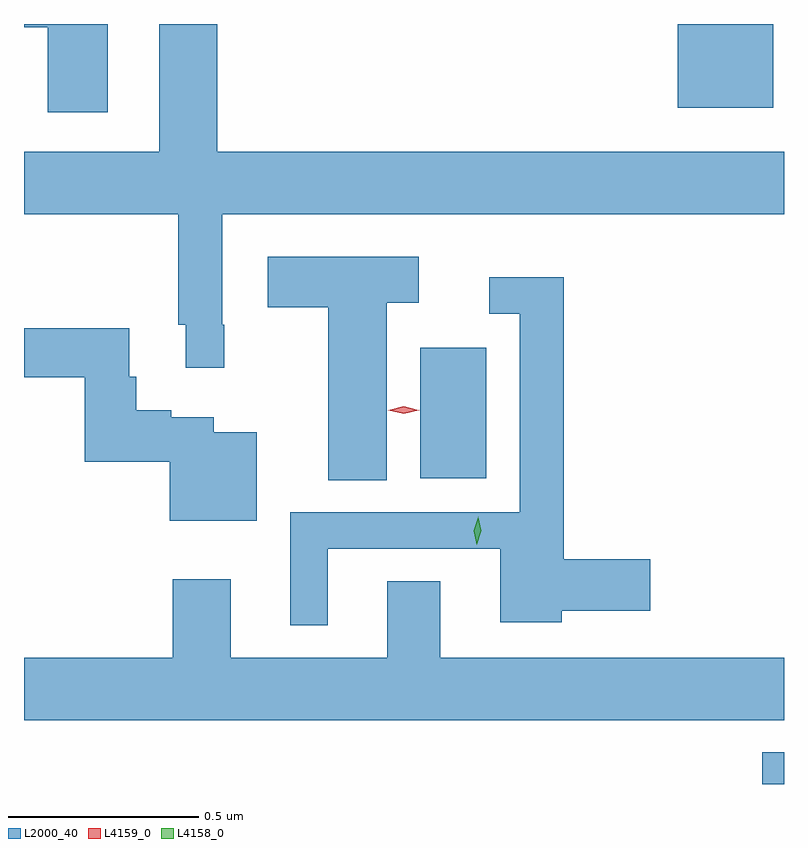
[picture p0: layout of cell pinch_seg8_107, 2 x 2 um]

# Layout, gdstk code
import gdstk
lib = gdstk.Library(unit=1e-6, precision=1e-09)
def R(c, l, rs):  # rectangles x0, y0, x1, y1
    for r in rs: c.add(gdstk.rectangle(r[:2], r[2:], *l))
def P(c, l, *ps):  # polygons
    for p in ps: c.add(gdstk.Polygon(p, *l))
L2000_40 = (2000, 40)
L4158_0 = (4158, 0)
L4159_0 = (4159, 0)

pinch_seg8_107 = lib.new_cell('pinch_seg8_107')
R(pinch_seg8_107, L2000_40, [(1036.046,1117.664,1036.103,1117.747), (1035.146,1118.468,1035.319,1118.812), (1035.824,1119.443,1036.075,1119.664)])
P(pinch_seg8_107, L2000_40, [(1034.323,1119.664),(1034.103,1119.664),(1034.103,1119.656),(1034.165,1119.656),(1034.165,1119.432),(1034.323,1119.432)],
  [(1035.058,1118.93),(1035.142,1118.93),(1035.142,1119.052),(1034.745,1119.052),(1034.745,1118.918),(1034.903,1118.918),(1034.903,1118.464),(1035.058,1118.464)],
  [(1034.902,1118.283),(1035.356,1118.283),(1035.356,1118.09),(1035.518,1118.09),(1035.518,1118.12),(1035.751,1118.12),(1035.751,1118.255),(1035.524,1118.255),(1035.524,1118.998),(1035.327,1118.998),(1035.327,1118.901),(1035.408,1118.901),(1035.408,1118.379),(1034.804,1118.379),(1034.804,1118.082),(1034.902,1118.082)],
  [(1036.103,1119.164),(1036.103,1119.328),(1034.612,1119.328),(1034.612,1119.664),(1034.459,1119.664),(1034.459,1119.328),(1034.103,1119.328),(1034.103,1119.164),(1034.509,1119.164),(1034.509,1118.872),(1034.528,1118.872),(1034.528,1118.76),(1034.63,1118.76),(1034.63,1118.872),(1034.625,1118.872),(1034.625,1119.164)],
  [(1034.716,1118.59),(1034.602,1118.59),(1034.602,1118.629),(1034.49,1118.629),(1034.49,1118.648),(1034.399,1118.648),(1034.399,1118.736),(1034.38,1118.736),(1034.38,1118.863),(1034.103,1118.863),(1034.103,1118.734),(1034.263,1118.734),(1034.263,1118.512),(1034.486,1118.512),(1034.486,1118.357),(1034.716,1118.357)],
  [(1036.103,1117.996),(1035.199,1117.996),(1035.199,1118.198),(1035.059,1118.198),(1035.059,1117.996),(1034.647,1117.996),(1034.647,1118.203),(1034.495,1118.203),(1034.495,1117.996),(1034.103,1117.996),(1034.103,1117.832),(1036.103,1117.832)])
P(pinch_seg8_107, L4158_0, [(1035.294,1118.294),(1035.294,1118.294),(1035.286,1118.331),(1035.298,1118.366),(1035.298,1118.367),(1035.298,1118.366),(1035.306,1118.33),(1035.294,1118.294)])
P(pinch_seg8_107, L4159_0, [(1035.102,1118.638),(1035.062,1118.647),(1035.062,1118.648),(1035.062,1118.648),(1035.102,1118.658),(1035.142,1118.648),(1035.143,1118.648),(1035.142,1118.647)])

lib.write_gds('pinch_seg8_107.gds')
